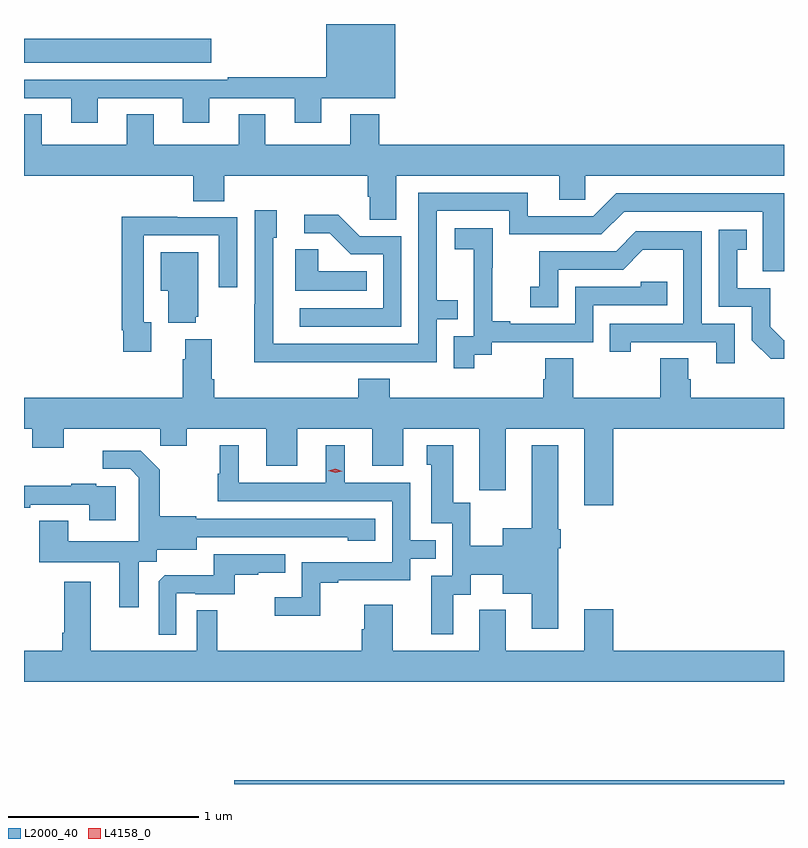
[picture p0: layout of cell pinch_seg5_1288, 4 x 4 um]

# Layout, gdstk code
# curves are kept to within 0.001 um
import gdstk
lib = gdstk.Library(unit=1e-6, precision=1e-09)
def R(c, l, rs):  # rectangles x0, y0, x1, y1
    for r in rs: c.add(gdstk.rectangle(r[:2], r[2:], *l))
def P(c, l, *ps):  # polygons
    for p in ps: c.add(gdstk.Polygon(p, *l))
L2000_40 = (2000, 40)
L4158_0 = (4158, 0)

pinch_seg5_1288 = lib.new_cell('pinch_seg5_1288')
R(pinch_seg5_1288, L2000_40, [(622.139,850.895,625.033,850.916), (621.033,854.69,622.018,854.818)])
P(pinch_seg5_1288, L2000_40, [(621.421,854.505),(621.869,854.505),(621.869,854.376),(622.009,854.376),(622.009,854.505),(622.457,854.505),(622.457,854.376),(622.597,854.376),(622.597,854.504),(622.987,854.504),(622.987,854.895),(622.625,854.895),(622.625,854.614),(622.105,854.614),(622.105,854.601),(621.033,854.601),(621.033,854.505),(621.281,854.505),(621.281,854.376),(621.421,854.376)],
  [(622.993,854.096),(623.849,854.096),(623.849,853.969),(623.988,853.969),(623.988,854.096),(625.033,854.096),(625.033,854.26),(622.904,854.26),(622.904,854.419),(622.751,854.419),(622.751,854.26),(622.303,854.26),(622.303,854.42),(622.163,854.42),(622.163,854.26),(621.715,854.26),(621.715,854.42),(621.575,854.42),(621.575,854.26),(621.127,854.26),(621.127,854.42),(621.033,854.42),(621.033,854.096),(621.923,854.096),(621.923,853.963),(622.088,853.963),(622.088,854.096),(622.841,854.096),(622.841,853.987),(622.854,853.987),(622.854,853.864),(622.993,853.864)],
  [(622.709,853.116),(623.205,853.116),(623.205,853.341),(623.315,853.341),(623.315,853.442),(623.205,853.442),(623.205,853.911),(623.586,853.911),(623.586,853.788),(624.072,853.788),(624.192,853.908),(624.921,853.908),(624.921,853.593),(625.033,853.593),(625.033,854.004),(624.15,854.004),(624.03,853.884),(623.683,853.884),(623.683,854.007),(623.109,854.007),(623.109,853.212),(622.344,853.212),(622.344,853.77),(622.363,853.77),(622.363,853.915),(622.248,853.915),(622.248,853.421),(622.246,853.421),(622.246,853.115)],
  [(623.019,853.779),(622.8,853.779),(622.687,853.892),(622.509,853.892),(622.509,853.794),(622.643,853.794),(622.754,853.683),(622.923,853.683),(622.923,853.398),(622.485,853.398),(622.485,853.302),(623.019,853.302)],
  [(621.703,853.326),(621.663,853.326),(621.663,853.782),(622.059,853.782),(622.059,853.509),(622.155,853.509),(622.155,853.878),(621.839,853.878),(621.839,853.88),(621.547,853.88),(621.547,853.282),(621.555,853.282),(621.555,853.17),(621.703,853.17)],
  [(623.404,853.153),(623.496,853.153),(623.496,853.221),(624.03,853.221),(624.03,853.416),(624.419,853.416),(624.419,853.539),(624.279,853.539),(624.279,853.512),(623.934,853.512),(623.934,853.317),(623.593,853.317),(623.593,853.33),(623.498,853.33),(623.498,853.613),(623.499,853.613),(623.499,853.819),(623.301,853.819),(623.301,853.709),(623.399,853.709),(623.399,853.481),(623.4,853.481),(623.4,853.251),(623.295,853.251),(623.295,853.083),(623.404,853.083)],
  [(625.033,853.23),(624.96,853.302),(624.96,853.503),(624.787,853.503),(624.787,853.707),(624.836,853.707),(624.836,853.813),(624.69,853.813),(624.69,853.407),(624.864,853.407),(624.864,853.23),(624.962,853.133),(625.033,853.133)],
  [(624.774,853.317),(624.6,853.317),(624.6,853.803),(624.254,853.803),(624.149,853.698),(623.746,853.698),(623.746,853.513),(623.697,853.513),(623.697,853.404),(623.844,853.404),(623.844,853.602),(624.186,853.602),(624.29,853.706),(624.504,853.706),(624.504,853.317),(624.115,853.317),(624.115,853.17),(624.226,853.17),(624.226,853.221),(624.677,853.221),(624.677,853.11),(624.774,853.11)],
  [(622.838,853.594),(622.581,853.594),(622.581,853.709),(622.46,853.709),(622.46,853.49),(622.838,853.49)],
  [(621.938,853.353),(621.949,853.353),(621.949,853.693),(621.752,853.693),(621.752,853.49),(621.791,853.49),(621.791,853.322),(621.938,853.322)],
  [(624.134,852.764),(625.033,852.764),(625.033,852.928),(624.542,852.928),(624.542,853.026),(624.529,853.026),(624.529,853.136),(624.382,853.136),(624.382,852.928),(623.925,852.928),(623.925,853.136),(623.777,853.136),(623.777,853.026),(623.765,853.026),(623.765,852.928),(622.958,852.928),(622.958,853.027),(622.793,853.027),(622.793,852.928),(622.034,852.928),(622.034,853.024),(622.021,853.024),(622.021,853.237),(621.881,853.237),(621.881,853.13),(621.869,853.13),(621.869,852.928),(621.033,852.928),(621.033,852.764),(621.077,852.764),(621.077,852.665),(621.241,852.665),(621.241,852.764),(621.751,852.764),(621.751,852.674),(621.889,852.674),(621.889,852.764),(622.307,852.764),(622.307,852.57),(622.471,852.57),(622.471,852.764),(622.865,852.764),(622.865,852.57),(623.029,852.57),(623.029,852.764),(623.429,852.764),(623.429,852.553),(623.43,852.553),(623.43,852.441),(623.569,852.441),(623.569,852.764),(623.981,852.764),(623.981,852.363),(624.134,852.363)],
  [(623.293,851.89),(623.383,851.89),(623.383,851.996),(623.552,851.996),(623.552,851.897),(623.705,851.897),(623.705,851.712),(623.845,851.712),(623.845,852.137),(623.858,852.137),(623.858,852.237),(623.845,852.237),(623.845,852.679),(623.705,852.679),(623.705,852.241),(623.552,852.241),(623.552,852.148),(623.382,852.148),(623.382,852.375),(623.293,852.375),(623.293,852.679),(623.153,852.679),(623.153,852.576),(623.177,852.576),(623.177,852.267),(623.286,852.267),(623.286,851.991),(623.177,851.991),(623.177,851.682),(623.293,851.682)],
  [(622.593,851.955),(622.687,851.955),(622.687,851.967),(623.067,851.967),(623.067,852.081),(623.201,852.081),(623.201,852.177),(623.067,852.177),(623.067,852.48),(622.72,852.48),(622.72,852.679),(622.622,852.679),(622.622,852.48),(622.162,852.48),(622.162,852.679),(622.064,852.679),(622.064,852.528),(622.053,852.528),(622.053,852.384),(622.971,852.384),(622.971,852.063),(622.494,852.063),(622.494,851.878),(622.353,851.878),(622.353,851.78),(622.593,851.78)],
  [(621.637,852.064),(621.732,852.064),(621.732,852.128),(621.943,852.128),(621.943,852.195),(622.737,852.194),(622.737,852.176),(622.882,852.176),(622.882,852.291),(621.939,852.291),(621.939,852.304),(621.747,852.304),(621.747,852.549),(621.647,852.649),(621.447,852.649),(621.447,852.555),(621.591,852.555),(621.638,852.508),(621.638,852.413),(621.636,852.413),(621.636,852.172),(621.265,852.172),(621.265,852.281),(621.113,852.281),(621.113,852.062),(621.533,852.062),(621.533,851.826),(621.637,851.826)],
  [(621.517,852.462),(621.413,852.462),(621.413,852.475),(621.281,852.475),(621.281,852.464),(621.033,852.464),(621.033,852.348),(621.067,852.348),(621.067,852.366),(621.377,852.366),(621.377,852.282),(621.517,852.282)],
  [(621.834,851.898),(621.934,851.898),(621.934,851.895),(622.142,851.895),(622.142,851.997),(622.265,851.997),(622.265,852.008),(622.409,852.008),(622.409,852.105),(622.032,852.105),(622.032,851.993),(621.773,851.993),(621.741,851.961),(621.741,851.681),(621.834,851.681)],
  [(625.033,851.596),(624.134,851.596),(624.134,851.815),(623.981,851.815),(623.981,851.596),(623.569,851.596),(623.569,851.812),(623.429,851.812),(623.429,851.596),(622.975,851.596),(622.975,851.839),(622.823,851.839),(622.823,851.709),(622.811,851.709),(622.811,851.596),(622.051,851.596),(622.051,851.81),(621.942,851.81),(621.942,851.596),(621.385,851.596),(621.385,851.959),(621.245,851.959),(621.245,851.692),(621.233,851.692),(621.233,851.596),(621.033,851.596),(621.033,851.432),(625.033,851.432)])
P(pinch_seg5_1288, L4158_0, [(622.671,852.533),(622.635,852.543),(622.635,852.544),(622.635,852.544),(622.671,852.553),(622.707,852.542),(622.707,852.542),(622.707,852.542)])

lib.write_gds('pinch_seg5_1288.gds')
